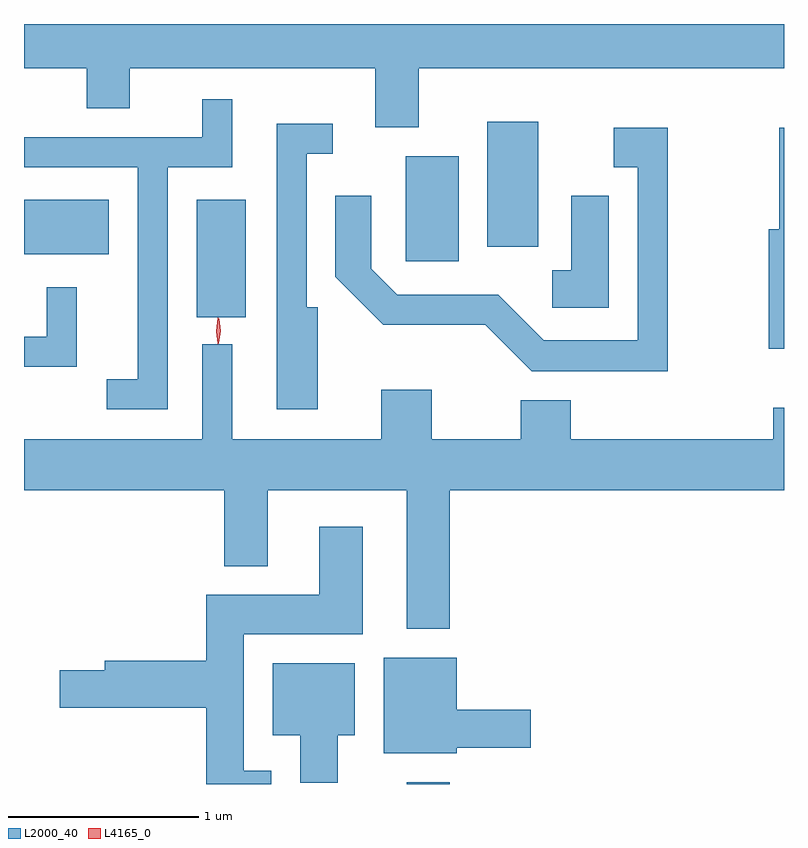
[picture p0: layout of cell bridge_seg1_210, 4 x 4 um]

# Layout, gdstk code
import gdstk
lib = gdstk.Library(unit=1e-6, precision=1e-09)
def R(c, l, rs):  # rectangles x0, y0, x1, y1
    for r in rs: c.add(gdstk.rectangle(r[:2], r[2:], *l))
def P(c, l, *ps):  # polygons
    for p in ps: c.add(gdstk.Polygon(p, *l))
L2000_40 = (2000, 40)
L4165_0 = (4165, 0)

bridge_seg1_210 = lib.new_cell('bridge_seg1_210')
R(bridge_seg1_210, L2000_40, [(771.351,855.849,771.579,855.859), (770.246,858.306,770.504,858.924), (771.346,858.601,771.624,859.154), (769.337,858.636,769.784,858.924), (771.776,858.676,772.044,859.334)])
P(bridge_seg1_210, L2000_40, [(769.337,859.616),(769.666,859.616),(769.666,859.406),(769.894,859.406),(769.894,859.616),(771.186,859.616),(771.186,859.306),(771.414,859.306),(771.414,859.616),(773.337,859.616),(773.337,859.849),(769.337,859.849)],
  [(770.094,859.096),(770.434,859.096),(770.434,859.453),(770.276,859.453),(770.276,859.254),(769.337,859.254),(769.337,859.096),(769.936,859.096),(769.936,857.979),(769.773,857.979),(769.773,857.821),(770.094,857.821)],
  [(770.884,858.359),(770.824,858.359),(770.824,859.166),(770.963,859.166),(770.963,859.324),(770.666,859.324),(770.666,857.821),(770.884,857.821)],
  [(772.724,859.304),(772.441,859.304),(772.441,859.096),(772.566,859.096),(772.566,858.184),(772.072,858.184),(771.832,858.424),(771.302,858.424),(771.164,858.562),(771.164,858.944),(770.976,858.944),(770.976,858.519),(771.229,858.266),(771.764,858.266),(772.009,858.021),(772.724,858.021)],
  [(773.337,859.303),(773.311,859.303),(773.311,858.769),(773.256,858.769),(773.256,858.141),(773.337,858.141)],
  [(772.414,858.944),(772.216,858.944),(772.216,858.554),(772.116,858.554),(772.116,858.356),(772.414,858.356)],
  [(769.614,858.463),(769.456,858.463),(769.456,858.204),(769.337,858.204),(769.337,858.046),(769.614,858.046)],
  [(771.579,857.396),(773.337,857.396),(773.337,857.829),(773.281,857.829),(773.281,857.664),(772.214,857.664),(772.214,857.869),(771.951,857.869),(771.951,857.664),(771.484,857.664),(771.484,857.924),(771.216,857.924),(771.216,857.664),(770.434,857.664),(770.434,858.163),(770.276,858.163),(770.276,857.664),(769.337,857.664),(769.337,857.396),(770.391,857.396),(770.391,856.996),(770.619,856.996),(770.619,857.396),(771.351,857.396),(771.351,856.666),(771.579,856.666)],
  [(770.639,855.919),(770.494,855.919),(770.494,856.636),(771.119,856.636),(771.119,857.204),(770.891,857.204),(770.891,856.844),(770.296,856.844),(770.296,856.499),(769.761,856.499),(769.761,856.449),(769.526,856.449),(769.526,856.251),(770.296,856.251),(770.296,855.849),(770.639,855.849)],
  [(771.614,856.041),(772.004,856.041),(772.004,856.239),(771.614,856.239),(771.614,856.514),(771.231,856.514),(771.231,856.011),(771.614,856.011)],
  [(770.989,856.106),(771.079,856.106),(771.079,856.484),(770.646,856.484),(770.646,856.106),(770.791,856.106),(770.791,855.856),(770.989,855.856)])
P(bridge_seg1_210, L4165_0, [(770.358,858.164),(770.358,858.165),(770.348,858.233),(770.358,858.302),(770.358,858.302),(770.359,858.302),(770.368,858.233),(770.359,858.165)],
  [(770.36,858.168),(770.352,858.234),(770.363,858.299),(770.364,858.299),(770.364,858.299),(770.372,858.234),(770.361,858.168),(770.361,858.168)])

lib.write_gds('bridge_seg1_210.gds')
